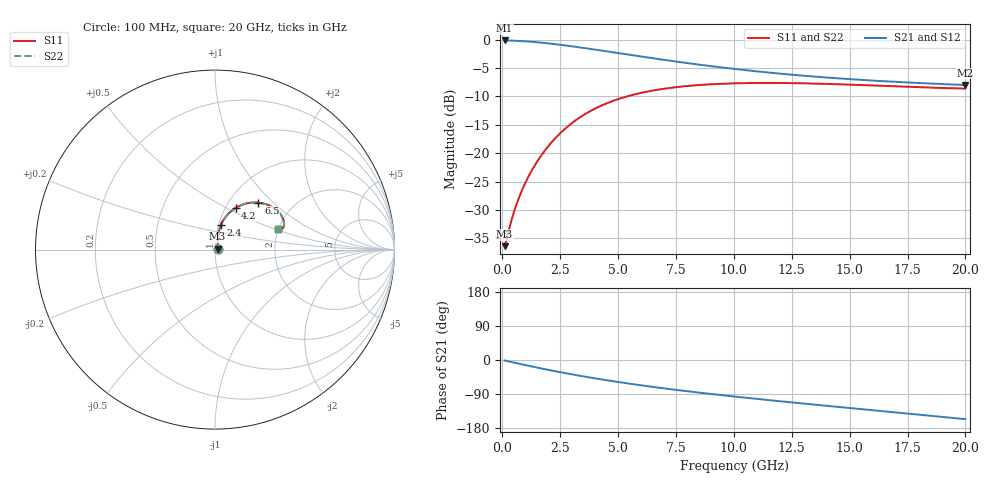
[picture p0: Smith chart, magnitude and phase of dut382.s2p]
! Touchstone file exported from HFSS 2024.1.0
!  File:  C:/UserFiles/LocalFiles/RDL_TSV_Batchsim/temp_RDL_TSV_382_1779645413.aedt
!  Generated:  02:13:57 AM May 25, 2026
!  Design:  RDL_TSV
!  Project:  temp_RDL_TSV_382_1779645413
!  Setup:  Setup1
!  Solution:  Sweep
! Variables:
!  dtsv = 5.62um
!  hbump = 3um
!  htsv = 84.93um
!  ldown = 228.05um
!  lrdl = 323.61um
!  p = 40
!  p1 = 59.34um
!  rhole = 10um
!  subl = 1978.59um
!  t = 450um
!  tdown = 3.2um
!  trdl = 3.81um
!  viad = 10um
!  wdown = 21.71um
!  wrdl = 13.9um
!  xbump = 18um
# GHz S MA R 50.000000
! Terminal data exported
! Port[1] = TM1_1_T1
! Port[2] = TM1_4_T1
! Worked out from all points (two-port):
!   200 points, 100 MHz to 20 GHz, reference 50 ohm
!   highest |S21| = -0.13 dB at 100 MHz (marker M1); lowest = -8.0 dB at 20 GHz (marker M2)
!   |S21| within 3 dB of the highest: start of sweep to 6.277 GHz
!   lowest |S11| = -36.4 dB at 100 MHz (marker M3), VSWR 1.03, Z = 51.4 + j0.559 ohm
!   |S11| at or under -10 dB: start of sweep to 5.376 GHz
!   |S22| runs from -36.4 to -7.6 dB; largest |S21 - S12| = 2.1e-14
!   S11 on the Smith chart (normalised r, x): 100 MHz: 1.03, +0.01; 2.4 GHz: 1.03, +0.29; 4.2 GHz: 1.11, +0.55; 6.5 GHz: 1.36, +0.81; 20 GHz: 1.99, +0.53
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0.1  0.01516 21.0  0.9857 -1.4  0.9857 -1.4  0.01516 21.0
! Gamma 0 0 0 0
! Port Impedance 50 0 50 0
0.4  0.02577 54.6  0.9824 -5.5  0.9824 -5.5  0.02577 54.6
0.5  0.03015 60.0  0.9807 -6.8  0.9807 -6.8  0.03015 60.0
0.7  0.03954 67.2  0.9766 -9.5  0.9766 -9.5  0.03954 67.2
1  0.05501 73.4  0.9686 -13.5  0.9686 -13.5  0.055 73.4
1.3  0.072 76.5  0.9585 -17.4  0.9585 -17.4  0.07198 76.5
1.6  0.09029 77.8  0.9466 -21.2  0.9466 -21.2  0.09025 77.8
2  0.1162 77.7  0.9284 -26.2  0.9284 -26.2  0.1161 77.7
2.4  0.1431 76.3  0.9082 -31.0  0.9082 -31.0  0.143 76.3
2.9  0.1771 73.4  0.8813 -36.7  0.8813 -36.7  0.1769 73.4
3.5  0.2164 69.1  0.8476 -43.2  0.8476 -43.2  0.2162 69.1
4.2  0.2583 63.7  0.8079 -50.4  0.8079 -50.4  0.258 63.7
5.3  0.313 55.4  0.7474 -60.8  0.7474 -60.8  0.3127 55.4
6.5  0.3566 47.2  0.6871 -71.0  0.6871 -71.0  0.3563 47.2
6.8  0.3652 45.4  0.6732 -73.4  0.6732 -73.4  0.3648 45.4
8.4  0.3975 36.8  0.6069 -85.4  0.6069 -85.4  0.3971 36.8
10.1  0.4132 29.7  0.5507 -96.9  0.5507 -96.9  0.4128 29.7
11.7  0.4162 24.6  0.5092 -107.0  0.5092 -107.0  0.4158 24.6
13.4  0.4113 20.7  0.4748 -117.3  0.4748 -117.3  0.4109 20.7
15  0.4022 18.4  0.4496 -126.7  0.4496 -126.7  0.4018 18.3
16.7  0.3904 17.1  0.4285 -136.6  0.4285 -136.6  0.3899 17.1
20  0.3711 18.1  0.3991 -156.1  0.3991 -156.1  0.3707 18.1
